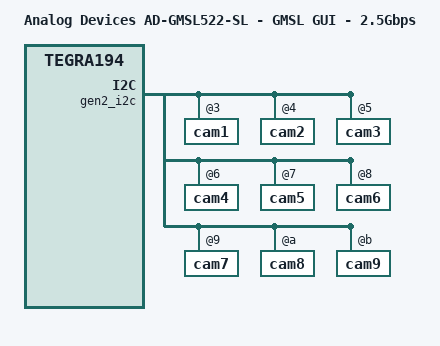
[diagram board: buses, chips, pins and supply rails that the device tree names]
// SPDX-License-Identifier: GPL-2.0
/*
 * Copyright (C) 2023 Analog Devices Inc.
 */

/dts-v1/;

#include "tegra194-p3668-0001-gmsl522-revb.dts"

/ {
	model = "Analog Devices AD-GMSL522-SL - GMSL GUI - 2.5Gbps";
};

#include "common/tegra194-gmsl522-reva-gmsl-generic.dtsi"

&gen2_i2c {
	cam1: cam1@3 {
		mode0 {
			serdes_link_freq = "1250000000";
		};
	};
	cam2: cam2@4 {
		mode0 {
			serdes_link_freq = "1250000000";
		};
	};
	cam3: cam3@5 {
		mode0 {
			serdes_link_freq = "1250000000";
		};
	};
	cam4: cam4@6 {
		mode0 {
			serdes_link_freq = "1250000000";
		};
	};
	cam5: cam5@7 {
		mode0 {
			serdes_link_freq = "1250000000";
		};
	};
	cam6: cam6@8 {
		mode0 {
			serdes_link_freq = "1250000000";
		};
	};
	cam7: cam7@9 {
		mode0 {
			serdes_link_freq = "1250000000";
		};
	};
	cam8: cam8@a {
		mode0 {
			serdes_link_freq = "1250000000";
		};
	};
	cam9: cam9@b {
		mode0 {
			serdes_link_freq = "1250000000";
		};
	};
};
